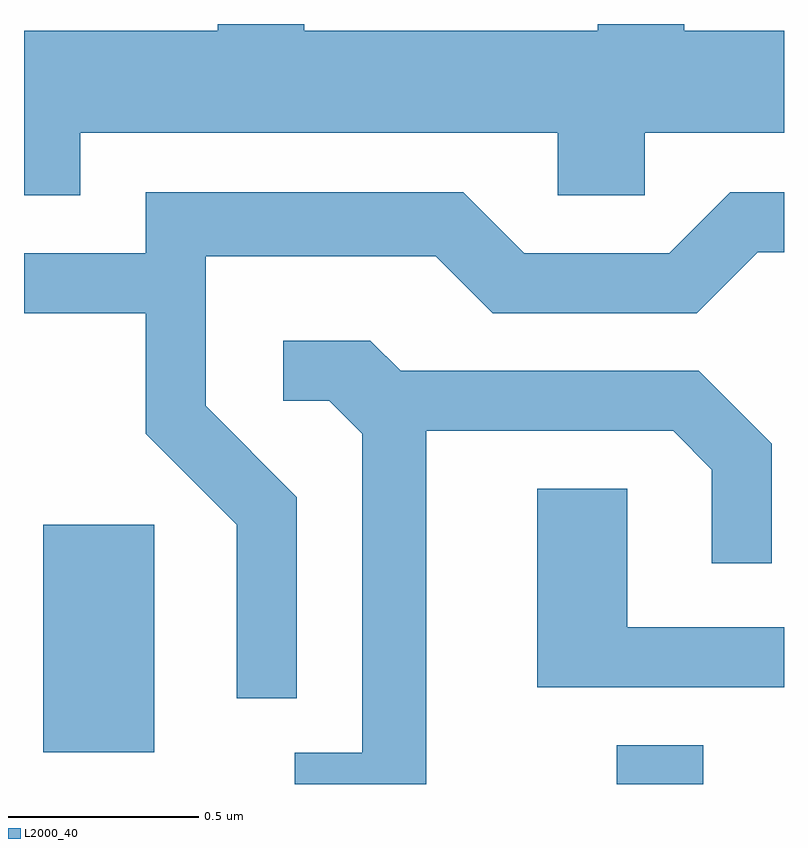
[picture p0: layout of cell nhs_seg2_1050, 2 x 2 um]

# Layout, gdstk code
import gdstk
lib = gdstk.Library(unit=1e-6, precision=1e-09)
def R(c, l, rs):  # rectangles x0, y0, x1, y1
    for r in rs: c.add(gdstk.rectangle(r[:2], r[2:], *l))
def P(c, l, *ps):  # polygons
    for p in ps: c.add(gdstk.Polygon(p, *l))
L2000_40 = (2000, 40)

nhs_seg2_1050 = lib.new_cell('nhs_seg2_1050')
R(nhs_seg2_1050, L2000_40, [(194.171,1068.802,194.399,1068.904), (192.661,1068.886,192.954,1069.484)])
P(nhs_seg2_1050, L2000_40, [(192.759,1070.516),(194.016,1070.516),(194.016,1070.351),(194.244,1070.351),(194.244,1070.516),(194.611,1070.516),(194.611,1070.784),(194.349,1070.784),(194.349,1070.802),(194.121,1070.802),(194.121,1070.784),(193.349,1070.784),(193.349,1070.802),(193.121,1070.802),(193.121,1070.784),(192.611,1070.784),(192.611,1070.351),(192.759,1070.351)],
  [(193.329,1069.557),(193.089,1069.797),(193.089,1070.191),(193.694,1070.191),(193.844,1070.041),(194.382,1070.041),(194.542,1070.201),(194.611,1070.201),(194.611,1070.359),(194.469,1070.359),(194.309,1070.199),(193.927,1070.199),(193.767,1070.359),(192.931,1070.359),(192.931,1070.199),(192.611,1070.199),(192.611,1070.041),(192.931,1070.041),(192.931,1069.724),(193.171,1069.484),(193.171,1069.028),(193.329,1069.028)],
  [(193.669,1069.731),(194.319,1069.731),(194.421,1069.629),(194.421,1069.383),(194.579,1069.383),(194.579,1069.697),(194.387,1069.889),(193.602,1069.889),(193.522,1069.969),(193.293,1069.969),(193.293,1069.811),(193.414,1069.811),(193.501,1069.724),(193.501,1068.884),(193.323,1068.884),(193.323,1068.802),(193.669,1068.802)],
  [(194.611,1069.214),(194.199,1069.214),(194.199,1069.579),(193.961,1069.579),(193.961,1069.056),(194.611,1069.056)])

lib.write_gds('nhs_seg2_1050.gds')
